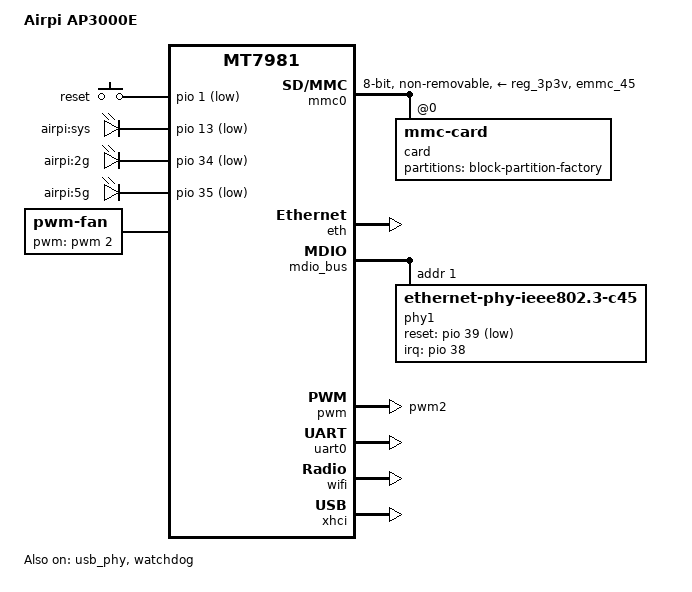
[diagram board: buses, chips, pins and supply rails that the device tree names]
// SPDX-License-Identifier: GPL-2.0-or-later OR MIT
/*
 * Copyright (C) 2023 Tianling Shen <cnsztl@immortalwrt.org>
 */

/dts-v1/;
#include <dt-bindings/gpio/gpio.h>
#include <dt-bindings/input/input.h>
#include <dt-bindings/leds/common.h>

#include "mt7981.dtsi"

/ {
	model = "Airpi AP3000E";
	compatible = "airpi,ap3000m-emmc", "mediatek,mt7981";

	aliases {
		led-boot = &sys_led;
                led-failsafe = &sys_led;
                led-running = &sys_led;
                led-upgrade = &sys_led;
		serial0 = &uart0;
	};

	chosen {
		stdout-path = "serial0:115200n8";
                bootargs-append = " root=PARTLABEL=rootfs rootwait";
	};

	gpio-keys {
		compatible = "gpio-keys";

		button-reset {
			label = "reset";
			linux,code = <KEY_RESTART>;
			gpios = <&pio 1 GPIO_ACTIVE_LOW>;
		};
	};

	gpio-leds {
		compatible = "gpio-leds";

		sys_led:led-1{
                        label = "airpi:sys";
                        gpios = <&pio 13 GPIO_ACTIVE_LOW>;
                };

		wifi2g:led-2{
                        label = "airpi:2g";
                        gpios = <&pio 34 GPIO_ACTIVE_LOW>;
                };

                wifi5g:led-3{
                        label = "airpi:5g";
                        gpios = <&pio 35 GPIO_ACTIVE_LOW>;
                };
	};

	fan: pwm-fan {
		compatible = "pwm-fan";
		#cooling-cells = <2>;
		/* cooling level (0, 1, 2, 3, 4, 5, 6, 7) : (0%/25%/37.5%/50%/62.5%/75%/87.5%/100% duty) */
		/* cooling-levels = <0 63 95 127 159 191 223 255>; */
		cooling-levels = <0 50 70 90 109 129 149 168>;
		pwms = <&pwm 2 40000 0>;
		status = "okay";
	};
};

&mmc0 {
	bus-width = <8>;
	cap-mmc-highspeed;
	max-frequency = <26000000>;
	non-removable;
	pinctrl-names = "default", "state_uhs";
	pinctrl-0 = <&mmc0_pins_default>;
	pinctrl-1 = <&mmc0_pins_uhs>;
	vmmc-supply = <&reg_3p3v>;
	status = "okay";

	card@0 {
		compatible = "mmc-card";
		reg = <0>;

		block {
			compatible = "block-device";

			partitions {
				block-partition-factory {
					partname = "factory";

					nvmem-layout {
						compatible = "fixed-layout";
						#address-cells = <1>;
						#size-cells = <1>;

						macaddr_factory_24: macaddr@24 {
							compatible = "mac-base";
							reg = <0x24 0x6>;
							#nvmem-cell-cells = <1>;
						};

						macaddr_factory_2a: macaddr@2a {
							compatible = "mac-base";
							reg = <0x2a 0x6>;
							#nvmem-cell-cells = <1>;
						};
					};
				};
			};
		};
	};
};


&eth {
	pinctrl-names = "default";
	pinctrl-0 = <&mdio_pins>;
	status = "okay";

	gmac0: mac@0 {
		compatible = "mediatek,eth-mac";
		reg = <0>;
		phy-mode = "2500base-x";
		phy-handle = <&phy1>;
		nvmem-cells = <&macaddr_factory_24 0>;
                nvmem-cell-names = "mac-address";
	};

	gmac1: mac@1 {
		compatible = "mediatek,eth-mac";
		reg = <1>;
		phy-mode = "gmii";
		phy-handle = <&int_gbe_phy>;

		nvmem-cells = <&macaddr_factory_2a 0>;
                nvmem-cell-names = "mac-address";
	};
};

&mdio_bus {
        phy1: ethernet-phy@1 {
                compatible = "ethernet-phy-ieee802.3-c45";
                reg = <1>;
                interrupts = <38 IRQ_TYPE_LEVEL_LOW>;
                interrupt-parent = <&pio>;
                reset-assert-us = <100000>;
                reset-deassert-us = <100000>;
                reset-gpios = <&pio 39 GPIO_ACTIVE_LOW>;
                realtek,aldps-enable;
        };
};

&pio {
	mmc0_pins_default: mmc0-pins-default {
		mux {
			function = "flash";
			groups = "emmc_45";
		};
	};

	mmc0_pins_uhs: mmc0-pins-uhs {
		mux {
			function = "flash";
			groups = "emmc_45";
		};
	};

	pwm2_pins: pwm2-pins {
		mux {
			function = "pwm";
			groups = "pwm2";
		};
	};
};

&pwm {
	pinctrl-names = "default";
	pinctrl-0 = <&pwm2_pins>;
	status = "okay";
};

&uart0 {
	status = "okay";
};

&usb_phy {
	status = "okay";
};

&watchdog {
	status = "okay";
};

&wifi {
	status = "okay";
};

&xhci {
	status = "okay";
};
